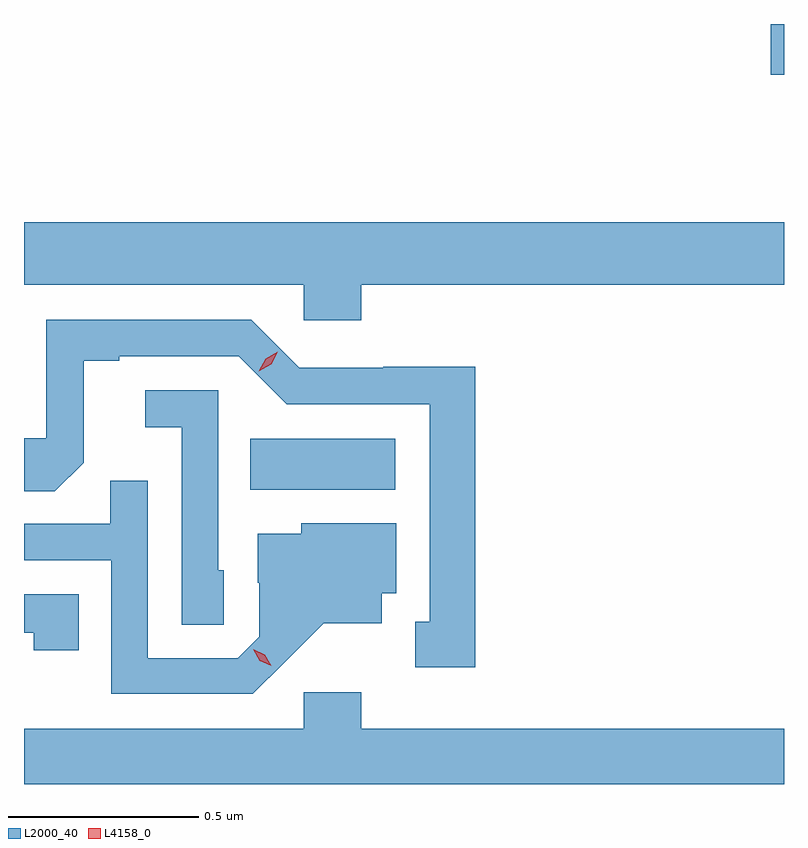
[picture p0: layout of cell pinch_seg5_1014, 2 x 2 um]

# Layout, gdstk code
import gdstk
lib = gdstk.Library(unit=1e-6, precision=1e-09)
def R(c, l, rs):  # rectangles x0, y0, x1, y1
    for r in rs: c.add(gdstk.rectangle(r[:2], r[2:], *l))
def P(c, l, *ps):  # polygons
    for p in ps: c.add(gdstk.Polygon(p, *l))
L2000_40 = (2000, 40)
L4158_0 = (4158, 0)

pinch_seg5_1014 = lib.new_cell('pinch_seg5_1014')
R(pinch_seg5_1014, L2000_40, [(734.548,874.868,734.929,875.002), (735.917,875.961,735.952,876.094)])
P(pinch_seg5_1014, L2000_40, [(734.84,875.408),(735.952,875.408),(735.952,875.572),(733.952,875.572),(733.952,875.408),(734.688,875.408),(734.688,875.315),(734.84,875.315)],
  [(735.139,875.192),(734.898,875.192),(734.898,875.19),(734.676,875.19),(734.55,875.316),(734.01,875.316),(734.01,875.004),(733.952,875.004),(733.952,874.864),(734.033,874.864),(734.109,874.94),(734.109,875.208),(734.203,875.208),(734.203,875.22),(734.517,875.22),(734.643,875.094),(735.02,875.094),(735.02,874.521),(734.981,874.521),(734.981,874.401),(735.139,874.401)],
  [(734.478,874.656),(734.463,874.656),(734.463,875.13),(734.271,875.13),(734.271,875.033),(734.367,875.033),(734.367,874.513),(734.478,874.513)],
  [(734.638,874.415),(734.741,874.517),(734.893,874.517),(734.893,874.596),(734.932,874.596),(734.932,874.78),(734.682,874.78),(734.682,874.753),(734.567,874.753),(734.567,874.624),(734.571,874.624),(734.571,874.482),(734.514,874.425),(734.277,874.425),(734.277,874.892),(734.179,874.892),(734.179,874.779),(733.952,874.779),(733.952,874.683),(734.181,874.683),(734.181,874.332),(734.554,874.332)],
  [(734.096,874.593),(733.952,874.593),(733.952,874.492),(733.978,874.492),(733.978,874.446),(734.096,874.446)],
  [(735.952,874.24),(734.84,874.24),(734.84,874.336),(734.688,874.336),(734.688,874.24),(733.952,874.24),(733.952,874.094),(735.952,874.094)])
P(pinch_seg5_1014, L4158_0, [(734.57,875.18),(734.57,875.18),(734.588,875.213),(734.62,875.231),(734.62,875.231),(734.62,875.231),(734.602,875.199),(734.57,875.18)],
  [(734.603,874.405),(734.572,874.419),(734.555,874.448),(734.555,874.449),(734.555,874.449),(734.586,874.434),(734.603,874.405),(734.603,874.405)])

lib.write_gds('pinch_seg5_1014.gds')
